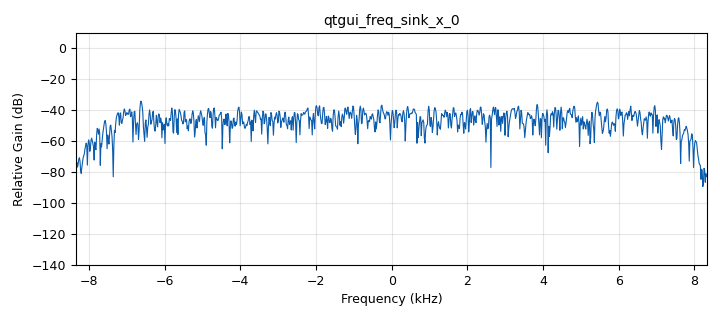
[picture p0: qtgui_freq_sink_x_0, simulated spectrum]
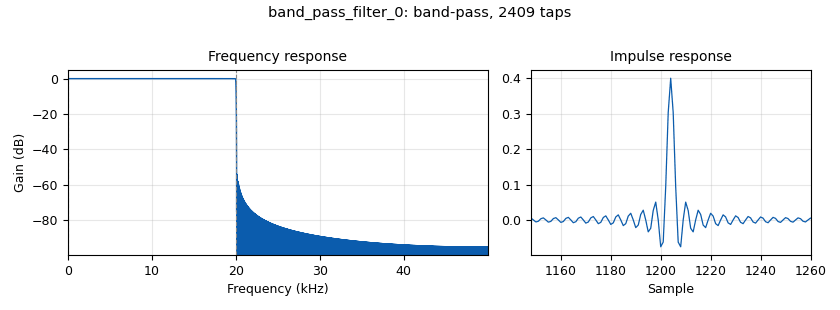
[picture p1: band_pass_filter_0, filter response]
options:
  parameters:
    author: sten
    generate_options: qt_gui
    id: Labo_3
    output_language: python
    title: Oefening 4
  states: {}

blocks:
- name: decimate
  id: variable
  parameters:
    value: '6'
  states: {}
- name: samp_rate
  id: variable
  parameters:
    value: 100e3
  states: {}
- name: analog_noise_source_x_0
  id: analog_noise_source_x
  parameters:
    amp: '1'
    noise_type: analog.GR_GAUSSIAN
    seed: '0'
    type: complex
  states: {}
- name: analog_sig_source_x_0
  id: analog_sig_source_x
  parameters:
    amp: '1'
    freq: 10e3
    offset: '0'
    phase: '0'
    samp_rate: samp_rate
    type: complex
    waveform: analog.GR_COS_WAVE
  states: {}
- name: band_pass_filter_0
  id: band_pass_filter
  parameters:
    decim: '1'
    gain: '1'
    high_cutoff_freq: '20000'
    low_cutoff_freq: '1'
    samp_rate: samp_rate
    type: fir_filter_ccf
    width: '100'
    win: window.WIN_HAMMING
  states: {}
- name: blocks_add_xx_0
  id: blocks_add_xx
  parameters:
    type: complex
  states: {}
- name: blocks_throttle_0
  id: blocks_throttle
  parameters:
    samples_per_second: samp_rate
    type: complex
  states: {}
- name: qtgui_freq_sink_x_0
  id: qtgui_freq_sink_x
  parameters:
    bw: samp_rate / decimate
    fc: '0'
    fftsize: '1024'
    type: complex
  states: {}
- name: rational_resampler_xxx_0
  id: rational_resampler_xxx
  parameters:
    decim: decimate
    interp: '1'
    type: ccc
  states: {}

connections:
- [analog_noise_source_x_0, '0', blocks_add_xx_0, '0']
- [analog_sig_source_x_0, '0', blocks_add_xx_0, '1']
- [band_pass_filter_0, '0', rational_resampler_xxx_0, '0']
- [blocks_add_xx_0, '0', blocks_throttle_0, '0']
- [blocks_throttle_0, '0', band_pass_filter_0, '0']
- [rational_resampler_xxx_0, '0', qtgui_freq_sink_x_0, '0']

metadata:
  file_format: 1
